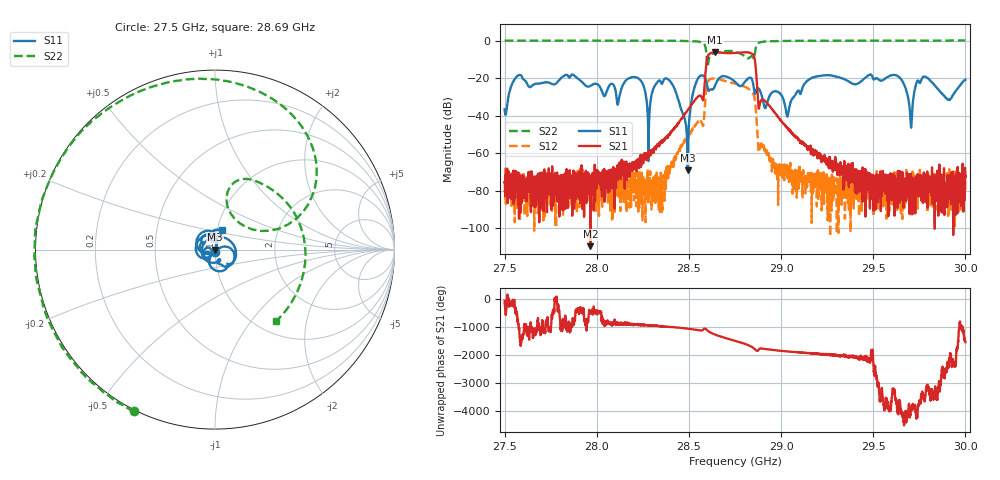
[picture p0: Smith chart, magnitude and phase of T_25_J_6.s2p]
!Keysight Technologies,N5234A,MY55441357,A.10.47.05
!Date: Sunday, November 19, 2017 13:22:43
!Correction: S11(Full 2 Port(1,2))
!S21(Full 2 Port(1,2))
!S12(Full 2 Port(1,2))
!S22(Full 2 Port(1,2))
!S2P File: Measurements: S11, S21, S12, S22:
# Hz S  dB  R 50
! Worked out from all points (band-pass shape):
!   2501 points, 27.5 GHz to 30 GHz, reference 50 ohm
!   highest |S21| = -6.11 dB at 28.64 GHz (marker M1); lowest = -109.6 dB at 27.96 GHz (marker M2)
!   |S21| within 3 dB of the highest: 28.6 GHz to 28.86 GHz (256 MHz wide, 0.891 % of centre)
!   lowest |S11| = -69.0 dB at 28.49 GHz (marker M3), VSWR 1.00, Z = 50 + j0.0289 ohm
!   |S11| at or under -10 dB: start of sweep to end of sweep
!   |S22| runs from -13.9 to 0.2 dB; largest |S21 - S12| = 0.58
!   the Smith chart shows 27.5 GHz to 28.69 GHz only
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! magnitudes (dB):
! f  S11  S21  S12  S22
! 27.5 GHz  -36.6  -75.5  -79.9  0.1
! 27.58 GHz  -18.4  -78.5  -79.3  0.1
! 27.92 GHz  -21.8  -66.4  -77.7  0.1
! 27.96 GHz  -24.1  -109.6  -72.0  0.1
! 28.22 GHz  -19.8  -68.2  -78.5  0.0
! 28.28 GHz  -64.2  -60.8  -73.6  0.0
! 28.33 GHz  -21.5  -55.5  -74.0  0.0
! 28.41 GHz  -23.4  -47.8  -66.0  0.0
! 28.49 GHz  -69.0  -37.1  -51.4  -0.1
! 28.55 GHz  -20.2  -29.8  -43.4  -0.4
! 28.64 GHz  -23.5  -6.1  -20.2  -6.5
! 28.75 GHz  -21.9  -6.5  -22.8  -5.8
! 28.84 GHz  -21.4  -7.1  -27.7  -8.4
! 28.88 GHz  -26.1  -34.7  -58.8  -0.9
! 28.98 GHz  -27.0  -39.5  -68.8  -0.2
! 29.04 GHz  -40.5  -46.7  -68.8  -0.1
! 29.17 GHz  -19.8  -58.1  -86.3  0.0
! 29.58 GHz  -19.0  -71.8  -73.5  0.1
! 29.7 GHz  -44.6  -71.0  -85.9  0.1
! 29.77 GHz  -19.1  -70.5  -74.9  0.1
! 29.91 GHz  -31.5  -75.0  -75.4  0.1
! 30 GHz  -20.9  -72.2  -79.8  0.1
